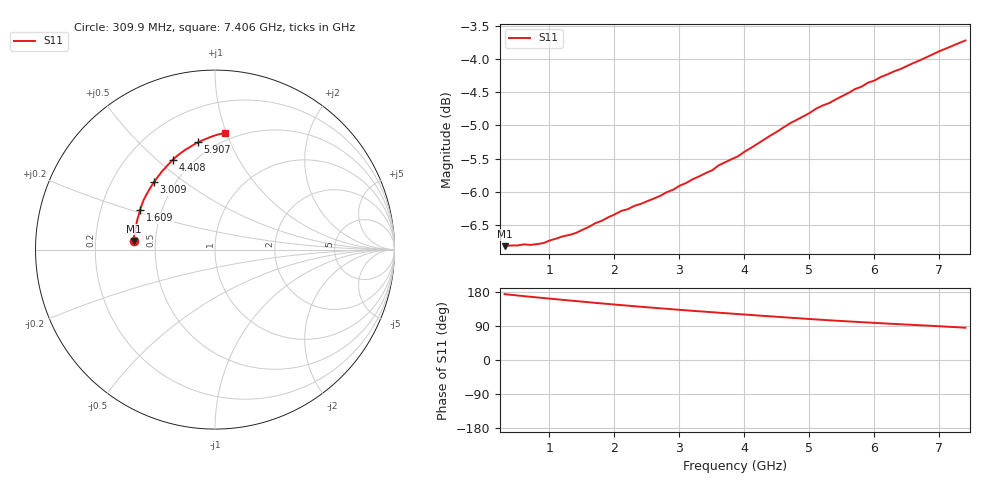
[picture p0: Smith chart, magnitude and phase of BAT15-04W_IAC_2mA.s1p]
! Infineon Technologies  Discrete & RF Semiconductors
! BAT15-04W-E6327
! IAC = 2 mA
! One-Port S-Parameters
# Hz  S  MA  R  50
!f  S11
!Hz  Mag  Ang
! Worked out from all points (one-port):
!   72 points, 309.9 MHz to 7.406 GHz, reference 50 ohm
!   lowest |S11| = -6.8 dB at 309.9 MHz (marker M1), VSWR 2.68, Z = 18.7 + j2.31 ohm
!   |S11| at or under -10 dB: nowhere
!   S11 on the Smith chart (normalised r, x): 309.9 MHz: 0.37, +0.05; 1.609 GHz: 0.38, +0.21; 3.009 GHz: 0.38, +0.39; 4.408 GHz: 0.39, +0.56; 5.907 GHz: 0.41, +0.77; 7.406 GHz: 0.44, +0.99
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3.0985e8  0.456 173.9
6.097e8  0.4575 168.5
9.0955e8  0.4585 163.5
1.2094e9  0.4639 158.6
1.4093e9  0.4666 155.4
1.6092e9  0.4716 152.3
1.70915e9  0.4746 150.7
1.90905e9  0.4795 147.8
2.10895e9  0.4848 144.8
2.50875e9  0.4931 139.1
2.8086e9  0.5008 135.1
3.0085e9  0.5065 132.3
3.2084e9  0.5122 129.8
3.50825e9  0.5202 126.1
3.6082e9  0.5247 124.8
3.90805e9  0.5331 121.2
4.4078e9  0.5526 115.2
4.8076e9  0.5677 110.4
5.10745e9  0.5789 107.0
5.4073e9  0.5881 103.8
5.70715e9  0.5989 100.9
5.90705e9  0.6056 98.9
6.30685e9  0.6175 95.2
6.6067e9  0.6265 92.6
6.8066e9  0.6328 90.9
7.10645e9  0.6424 88.1
7.30635e9  0.6485 86.2
7.4063e9  0.6515 85.1
